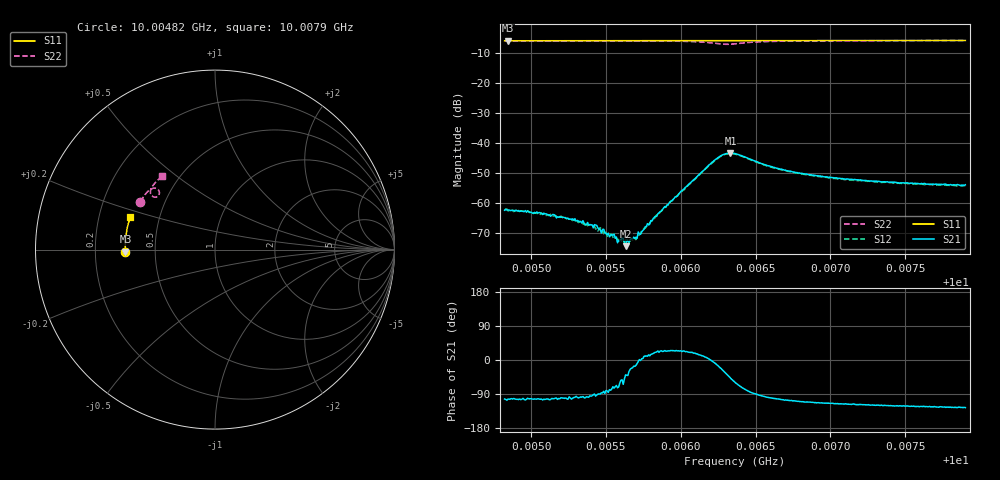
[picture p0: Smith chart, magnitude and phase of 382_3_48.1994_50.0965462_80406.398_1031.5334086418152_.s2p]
#  HZ  S  RI  R  50.00
! Rohde & Schwarz Vector Network Analyzer
! Rohde-Schwarz,ZNB20-2Port,1311601062101988,3.16
! Created: UTC 3/20/2024, 11:53:10 AM
! freq[Hz]  re:S11  im:S11  re:S21  im:S21  re:S12  im:S12  re:S22  im:S22
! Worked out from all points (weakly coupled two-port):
!   401 points, 10.00482 GHz to 10.0079 GHz, reference 50 ohm
!   highest |S21| = -43.39 dB at 10.00633 GHz (marker M1); lowest = -74.3 dB at 10.00563 GHz (marker M2)
!   lowest |S11| = -6.0 dB at 10.00485 GHz (marker M3), VSWR 2.99, Z = 16.7 - j0.548 ohm
!   |S11| at or under -10 dB: nowhere
!   |S22| runs from -7.2 to -6.0 dB; largest |S21 - S12| = 0.00041
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1.0004823e10  -0.4991 -0.0138  -0.000169 -0.00074  -0.000148 -0.000761  -0.4154 0.2671
1.0004846e10  -0.499 -0.0123  -0.000171 -0.000749  -0.000143 -0.000727  -0.4147 0.2686
1.0005147e10  -0.4999 0.00732  -0.000135 -0.000633  -0.000102 -0.000601  -0.4038 0.2864
1.0005339e10  -0.4999 0.0198  -6.55e-05 -0.000462  -6.95e-05 -0.000481  -0.396 0.2978
1.0005408e10  -0.4998 0.0243  -3.13e-05 -0.000431  -3.23e-05 -0.000415  -0.393 0.3019
1.0005439e10  -0.4998 0.0265  -1.69e-05 -0.000423  3.44e-06 -0.000374  -0.3915 0.3037
1.0005516e10  -0.4997 0.0312  2.39e-05 -0.000313  5.61e-05 -0.000289  -0.388 0.3085
1.0005555e10  -0.4996 0.0339  8.2e-05 -0.000294  0.000104 -0.000228  -0.386 0.3108
1.0005578e10  -0.4993 0.0353  6.29e-05 -0.00021  0.000135 -0.000209  -0.3851 0.3122
1.0005632e10  -0.4995 0.0387  0.000148 -0.000122  0.000179 -0.000164  -0.3823 0.3155
1.0005639e10  -0.4994 0.0391  0.000177 -0.000151  0.000208 -0.000124  -0.3818 0.316
1.000567e10  -0.4992 0.0413  0.000241 -9.73e-05  0.000237 -8.4e-05  -0.3802 0.3179
1.0005716e10  -0.4991 0.0442  0.000329 -2.4e-05  0.000289 -4.21e-05  -0.3774 0.3208
1.0005855e10  -0.4985 0.0531  0.000643 0.000238  0.0006 0.000264  -0.3682 0.3296
1.0006217e10  -0.4957 0.0765  0.00489 -0.000401  0.00479 -0.000163  -0.3146 0.3317
1.0006278e10  -0.495 0.0802  0.00567 -0.00273  0.00564 -0.00242  -0.3102 0.3108
1.0006332e10  -0.4946 0.0833  0.00456 -0.005  0.0047 -0.00468  -0.3231 0.2945
1.0006363e10  -0.4945 0.0854  0.00344 -0.00568  0.00363 -0.00535  -0.3342 0.2922
1.0006648e10  -0.4921 0.1035  -0.000839 -0.00367  -0.000657 -0.00364  -0.3578 0.3342
1.0006879e10  -0.4892 0.1183  -0.00107 -0.0027  -0.000947 -0.0027  -0.3475 0.3545
1.0007394e10  -0.4814 0.1505  -0.00114 -0.0019  -0.00102 -0.00192  -0.3218 0.3841
1.0007903e10  -0.4716 0.1818  -0.00117 -0.00164  -0.00106 -0.00162  -0.2958 0.4075
